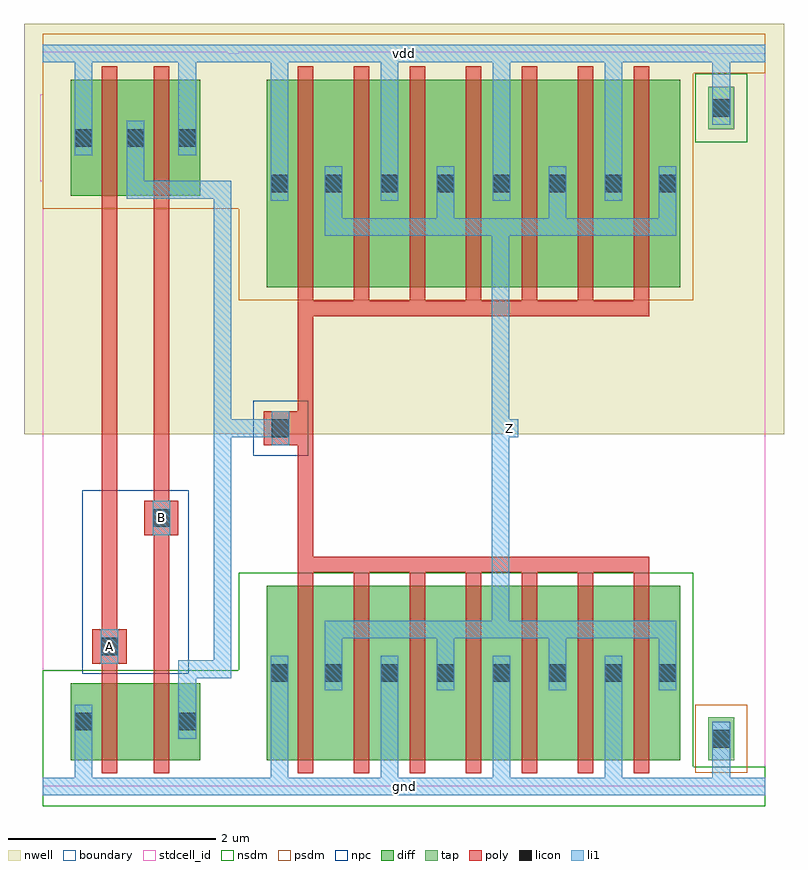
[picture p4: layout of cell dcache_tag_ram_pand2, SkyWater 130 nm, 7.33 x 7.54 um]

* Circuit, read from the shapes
.subckt dcache_tag_ram_pand2 A B Z gnd vdd
XM1 dcache_tag_ram_pnand2_0/dcache_tag_ram_nmos_m1_w0_740_sli_dactive_2/D A gnd gnd sky130_fd_pr__nfet_01v8 w=0.74 l=0.15
XM2 dcache_tag_ram_pdriver_1/A B dcache_tag_ram_pnand2_0/dcache_tag_ram_nmos_m1_w0_740_sli_dactive_2/D gnd sky130_fd_pr__nfet_01v8 w=0.74 l=0.15
XM3 Z dcache_tag_ram_pdriver_1/A gnd gnd sky130_fd_pr__nfet_01v8 w=1.68 l=0.15 m=7
XM4 dcache_tag_ram_pdriver_1/A A vdd vdd sky130_fd_pr__pfet_01v8 w=1.12 l=0.15
XM5 vdd B dcache_tag_ram_pdriver_1/A vdd sky130_fd_pr__pfet_01v8 w=1.12 l=0.15
XM6 Z dcache_tag_ram_pdriver_1/A vdd vdd sky130_fd_pr__pfet_01v8 w=2 l=0.15 m=7
.ends

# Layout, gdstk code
import gdstk
lib = gdstk.Library(unit=1e-6, precision=1e-09)
def R(c, l, rs):  # rectangles x0, y0, x1, y1
    for r in rs: c.add(gdstk.rectangle(r[:2], r[2:], *l))
def A(c, l, x, y, w, h, nx, ny, dx, dy):  # array of equal rectangles
    R(c, l, [(x+i*dx, y+j*dy, x+i*dx+w, y+j*dy+h) for i in range(nx) for j in range(ny)])
nwell = (64, 20)
diff = (65, 20)
tap = (65, 44)
poly = (66, 20)
licon = (66, 44)
li1 = (67, 20)
stdcell_id = (81, 4)
nsdm = (93, 44)
psdm = (94, 20)
npc = (95, 20)
boundary = (235, 4)

dcache_tag_ram_contact_1 = lib.new_cell('dcache_tag_ram_contact_11')
R(dcache_tag_ram_contact_1, nwell, [(-0.295,-0.255,0.545,0.585)])
R(dcache_tag_ram_contact_1, diff, [(0,0.02,0.25,0.31)])
R(dcache_tag_ram_contact_1, licon, [(0.04,0.08,0.21,0.25)])
R(dcache_tag_ram_contact_1, li1, [(0.04,0,0.21,0.33)])
R(dcache_tag_ram_contact_1, stdcell_id, [(-0.295,-0.255,0.545,0.585)])
R(dcache_tag_ram_contact_1, psdm, [(-0.125,-0.105,0.375,0.435)])
R(dcache_tag_ram_contact_1, boundary, [(-0.295,-0.255,0.545,0.585)])

dcache_tag_ram_pmos_m1_w = lib.new_cell('dcache_tag_ram_pmos_m1_w1_120_sli_dli')
R(dcache_tag_ram_pmos_m1_w, nwell, [(-0.27,-0.27,1.02,1.39)])
R(dcache_tag_ram_pmos_m1_w, diff, [(0,0,0.75,1.12)])
R(dcache_tag_ram_pmos_m1_w, poly, [(0.3,-0.13,0.45,1.25), (0.3,-0.13,0.45,1.25)])
R(dcache_tag_ram_pmos_m1_w, li1, [(0.04,0.395,0.21,0.725), (0.54,0.395,0.71,0.725)])
R(dcache_tag_ram_pmos_m1_w, stdcell_id, [(-0.27,-0.27,1.02,1.39)])
R(dcache_tag_ram_pmos_m1_w, psdm, [(-0.125,-0.125,0.875,1.245)])
R(dcache_tag_ram_pmos_m1_w, boundary, [(-0.27,-0.27,1.02,1.39)])
dcache_tag_ram_pmos_m1_w.add(gdstk.Reference(dcache_tag_ram_contact_1, (0,0.395)))
dcache_tag_ram_pmos_m1_w.add(gdstk.Reference(dcache_tag_ram_contact_1, (0.5,0.395)))
dcache_tag_ram_pmos_m1_w.add(gdstk.Label('G', (0.375,0.56), layer=66, texttype=5))
dcache_tag_ram_pmos_m1_w.add(gdstk.Label('S', (0.125,0.56), layer=67, texttype=5))
dcache_tag_ram_pmos_m1_w.add(gdstk.Label('D', (0.625,0.56), layer=67, texttype=5))

c_dcache_tag_ram_contact_1 = lib.new_cell('dcache_tag_ram_contact_10')
R(c_dcache_tag_ram_contact_1, diff, [(0,0.02,0.25,0.31)])
R(c_dcache_tag_ram_contact_1, licon, [(0.04,0.08,0.21,0.25)])
R(c_dcache_tag_ram_contact_1, li1, [(0.04,0,0.21,0.33)])
R(c_dcache_tag_ram_contact_1, stdcell_id, [(-0.125,-0.105,0.375,0.435)])
R(c_dcache_tag_ram_contact_1, nsdm, [(-0.125,-0.105,0.375,0.435)])
R(c_dcache_tag_ram_contact_1, boundary, [(-0.125,-0.105,0.375,0.435)])

dcache_tag_ram_nmos_m1_w = lib.new_cell('dcache_tag_ram_nmos_m1_w0_740_sli_dactive')
R(dcache_tag_ram_nmos_m1_w, diff, [(0,0,0.75,0.74), (0.55,0.295,0.7,0.445)])
R(dcache_tag_ram_nmos_m1_w, poly, [(0.3,-0.13,0.45,0.87), (0.3,-0.13,0.45,0.87)])
R(dcache_tag_ram_nmos_m1_w, li1, [(0.04,0.205,0.21,0.535)])
R(dcache_tag_ram_nmos_m1_w, stdcell_id, [(-0.125,-0.13,0.875,0.87)])
R(dcache_tag_ram_nmos_m1_w, nsdm, [(-0.125,-0.125,0.875,0.865)])
R(dcache_tag_ram_nmos_m1_w, boundary, [(-0.125,-0.13,0.875,0.87)])
dcache_tag_ram_nmos_m1_w.add(gdstk.Reference(c_dcache_tag_ram_contact_1, (0,0.205)))
dcache_tag_ram_nmos_m1_w.add(gdstk.Label('G', (0.375,0.37), layer=66, texttype=5))
dcache_tag_ram_nmos_m1_w.add(gdstk.Label('S', (0.125,0.37), layer=67, texttype=5))
dcache_tag_ram_nmos_m1_w.add(gdstk.Label('D', (0.625,0.37), layer=65, texttype=5))

c_dcache_tag_ram_nmos_m1_w = lib.new_cell('dcache_tag_ram_nmos_m1_w0_740_sactive_dli')
R(c_dcache_tag_ram_nmos_m1_w, diff, [(0,0,0.75,0.74), (0.05,0.295,0.2,0.445)])
R(c_dcache_tag_ram_nmos_m1_w, poly, [(0.3,-0.13,0.45,0.87), (0.3,-0.13,0.45,0.87)])
R(c_dcache_tag_ram_nmos_m1_w, li1, [(0.54,0.205,0.71,0.535)])
R(c_dcache_tag_ram_nmos_m1_w, stdcell_id, [(-0.125,-0.13,0.875,0.87)])
R(c_dcache_tag_ram_nmos_m1_w, nsdm, [(-0.125,-0.125,0.875,0.865)])
R(c_dcache_tag_ram_nmos_m1_w, boundary, [(-0.125,-0.13,0.875,0.87)])
c_dcache_tag_ram_nmos_m1_w.add(gdstk.Reference(c_dcache_tag_ram_contact_1, (0.5,0.205)))
c_dcache_tag_ram_nmos_m1_w.add(gdstk.Label('G', (0.375,0.37), layer=66, texttype=5))
c_dcache_tag_ram_nmos_m1_w.add(gdstk.Label('S', (0.125,0.37), layer=65, texttype=5))
c_dcache_tag_ram_nmos_m1_w.add(gdstk.Label('D', (0.625,0.37), layer=67, texttype=5))

c_dcache_tag_ram_contact_1_ = lib.new_cell('dcache_tag_ram_contact_15')
R(c_dcache_tag_ram_contact_1_, poly, [(0,0,0.33,0.33)])
R(c_dcache_tag_ram_contact_1_, licon, [(0.08,0.08,0.25,0.25)])
R(c_dcache_tag_ram_contact_1_, li1, [(0.08,0,0.25,0.33)])
R(c_dcache_tag_ram_contact_1_, stdcell_id, [(-0.1,-0.1,0.43,0.43)])
R(c_dcache_tag_ram_contact_1_, npc, [(-0.1,-0.1,0.43,0.43)])
R(c_dcache_tag_ram_contact_1_, boundary, [(-0.1,-0.1,0.43,0.43)])

dcache_tag_ram_pnand2 = lib.new_cell('dcache_tag_ram_pnand2')
R(dcache_tag_ram_pnand2, nwell, [(-0.18,3.395,2.07,7.355)])
R(dcache_tag_ram_pnand2, poly, [(0.57,1.125,0.72,5.565), (1.07,1.125,1.22,5.565), (0.57,1.185,0.645,1.515), (1.07,2.425,1.145,2.755)])
R(dcache_tag_ram_pnand2, li1, [(0,-0.085,1.89,0.085), (0.31,-0.085,0.48,0.46), (1.31,0.79,1.48,1.13), (1.31,1.045,1.48,1.215), (1.395,1.045,1.735,1.215), (1.65,1.045,1.82,1.215), (1.65,1.13,1.82,5.755), (0.56,1.185,0.73,1.515), (1.06,2.425,1.23,2.755), (0.81,5.67,0.98,5.84), (0.895,5.67,1.735,5.84), (1.65,5.67,1.82,5.84), (0.81,5.755,0.98,6.09), (0.31,6.09,0.48,7.155), (1.31,6.09,1.48,7.155), (0,6.985,1.89,7.155)])
R(dcache_tag_ram_pnand2, stdcell_id, [(0,0,1.89,7.07), (0,0,1.89,7.07)])
R(dcache_tag_ram_pnand2, nsdm, [(0,-0.19,1.89,0.19), (0,0,1.89,1.12)])
R(dcache_tag_ram_pnand2, psdm, [(0,5.57,1.89,7.07), (0,6.88,1.89,7.26)])
R(dcache_tag_ram_pnand2, npc, [(0.38,1.085,1.41,2.855)])
R(dcache_tag_ram_pnand2, boundary, [(0,0,1.89,7.07), (0,0,1.89,7.07)])
dcache_tag_ram_pnand2.add(gdstk.Reference(dcache_tag_ram_pmos_m1_w, (0.27,5.695)))
dcache_tag_ram_pnand2.add(gdstk.Reference(dcache_tag_ram_pmos_m1_w, (0.77,5.695)))
dcache_tag_ram_pnand2.add(gdstk.Reference(dcache_tag_ram_nmos_m1_w, (0.27,0.255)))
dcache_tag_ram_pnand2.add(gdstk.Reference(c_dcache_tag_ram_nmos_m1_w, (0.77,0.255)))
dcache_tag_ram_pnand2.add(gdstk.Reference(c_dcache_tag_ram_contact_1_, (0.48,1.185)))
dcache_tag_ram_pnand2.add(gdstk.Reference(c_dcache_tag_ram_contact_1_, (0.98,2.425)))
dcache_tag_ram_pnand2.add(gdstk.Label('Z', (1.735,5.755), layer=67, texttype=5))
dcache_tag_ram_pnand2.add(gdstk.Label('gnd', (0.945,0), layer=67, texttype=5))
dcache_tag_ram_pnand2.add(gdstk.Label('vdd', (0.945,7.07), layer=67, texttype=5))
dcache_tag_ram_pnand2.add(gdstk.Label('A', (0.645,1.35), layer=67, texttype=5))
dcache_tag_ram_pnand2.add(gdstk.Label('B', (1.145,2.59), layer=67, texttype=5))

dcache_tag_ram_pmos_m7_w = lib.new_cell('dcache_tag_ram_pmos_m7_w2_000_sli_dli_da_p')
R(dcache_tag_ram_pmos_m7_w, nwell, [(-0.27,-0.27,4.26,2.27)])
R(dcache_tag_ram_pmos_m7_w, diff, [(0,0,3.99,2)])
A(dcache_tag_ram_pmos_m7_w, poly, 0.3, -0.13, 0.15, 2.26, 7, 1, 0.54, 0)
R(dcache_tag_ram_pmos_m7_w, poly, [(0.3,-0.28,3.69,-0.13)])
A(dcache_tag_ram_pmos_m7_w, li1, 0.56, 0.58, 0.17, 0.42, 3, 1, 1.08, 0)
A(dcache_tag_ram_pmos_m7_w, li1, 1.1, 0.835, 0.17, 0.33, 3, 1, 1.08, 0)
R(dcache_tag_ram_pmos_m7_w, li1, [(0.56,0.495,3.95,0.665), (3.78,0.58,3.95,1), (0.04,0.835,0.21,1.165)])
R(dcache_tag_ram_pmos_m7_w, stdcell_id, [(-0.27,-0.28,4.26,2.27)])
R(dcache_tag_ram_pmos_m7_w, psdm, [(-0.125,-0.125,4.115,2.125)])
R(dcache_tag_ram_pmos_m7_w, boundary, [(-0.27,-0.28,4.26,2.27)])
dcache_tag_ram_pmos_m7_w.add(gdstk.Reference(dcache_tag_ram_contact_1, (0,0.835)))
dcache_tag_ram_pmos_m7_w.add(gdstk.Reference(dcache_tag_ram_contact_1, (0.52,0.835)))
dcache_tag_ram_pmos_m7_w.add(gdstk.Reference(dcache_tag_ram_contact_1, (1.06,0.835)))
dcache_tag_ram_pmos_m7_w.add(gdstk.Reference(dcache_tag_ram_contact_1, (1.6,0.835)))
dcache_tag_ram_pmos_m7_w.add(gdstk.Reference(dcache_tag_ram_contact_1, (2.14,0.835)))
dcache_tag_ram_pmos_m7_w.add(gdstk.Reference(dcache_tag_ram_contact_1, (2.68,0.835)))
dcache_tag_ram_pmos_m7_w.add(gdstk.Reference(dcache_tag_ram_contact_1, (3.22,0.835)))
dcache_tag_ram_pmos_m7_w.add(gdstk.Reference(dcache_tag_ram_contact_1, (3.74,0.835)))
dcache_tag_ram_pmos_m7_w.add(gdstk.Label('G', (1.995,-0.205), layer=66, texttype=5))
dcache_tag_ram_pmos_m7_w.add(gdstk.Label('S', (0.125,1), layer=67, texttype=5))
dcache_tag_ram_pmos_m7_w.add(gdstk.Label('S', (1.185,1), layer=67, texttype=5))
dcache_tag_ram_pmos_m7_w.add(gdstk.Label('S', (3.345,1), layer=67, texttype=5))
dcache_tag_ram_pmos_m7_w.add(gdstk.Label('S', (2.265,1), layer=67, texttype=5))
dcache_tag_ram_pmos_m7_w.add(gdstk.Label('D', (2.255,0.58), layer=67, texttype=5))

dcache_tag_ram_nmos_m7_w = lib.new_cell('dcache_tag_ram_nmos_m7_w1_680_sli_dli_da_p')
R(dcache_tag_ram_nmos_m7_w, diff, [(0,0,3.99,1.68)])
A(dcache_tag_ram_nmos_m7_w, poly, 0.3, -0.13, 0.15, 1.94, 7, 1, 0.54, 0)
R(dcache_tag_ram_nmos_m7_w, poly, [(0.3,1.81,3.69,1.96)])
A(dcache_tag_ram_nmos_m7_w, li1, 1.1, 0.675, 0.17, 0.33, 3, 1, 1.08, 0)
A(dcache_tag_ram_nmos_m7_w, li1, 0.56, 0.84, 0.17, 0.42, 3, 1, 1.08, 0)
R(dcache_tag_ram_nmos_m7_w, li1, [(0.04,0.675,0.21,1.005), (3.78,0.84,3.95,1.26), (0.56,1.175,3.95,1.345)])
R(dcache_tag_ram_nmos_m7_w, stdcell_id, [(-0.125,-0.13,4.115,1.96)])
R(dcache_tag_ram_nmos_m7_w, nsdm, [(-0.125,-0.125,4.115,1.805)])
R(dcache_tag_ram_nmos_m7_w, boundary, [(-0.125,-0.13,4.115,1.96)])
dcache_tag_ram_nmos_m7_w.add(gdstk.Reference(c_dcache_tag_ram_contact_1, (0,0.675)))
dcache_tag_ram_nmos_m7_w.add(gdstk.Reference(c_dcache_tag_ram_contact_1, (0.52,0.675)))
dcache_tag_ram_nmos_m7_w.add(gdstk.Reference(c_dcache_tag_ram_contact_1, (1.06,0.675)))
dcache_tag_ram_nmos_m7_w.add(gdstk.Reference(c_dcache_tag_ram_contact_1, (1.6,0.675)))
dcache_tag_ram_nmos_m7_w.add(gdstk.Reference(c_dcache_tag_ram_contact_1, (2.14,0.675)))
dcache_tag_ram_nmos_m7_w.add(gdstk.Reference(c_dcache_tag_ram_contact_1, (2.68,0.675)))
dcache_tag_ram_nmos_m7_w.add(gdstk.Reference(c_dcache_tag_ram_contact_1, (3.22,0.675)))
dcache_tag_ram_nmos_m7_w.add(gdstk.Reference(c_dcache_tag_ram_contact_1, (3.74,0.675)))
dcache_tag_ram_nmos_m7_w.add(gdstk.Label('G', (1.995,1.885), layer=66, texttype=5))
dcache_tag_ram_nmos_m7_w.add(gdstk.Label('S', (3.345,0.84), layer=67, texttype=5))
dcache_tag_ram_nmos_m7_w.add(gdstk.Label('S', (1.185,0.84), layer=67, texttype=5))
dcache_tag_ram_nmos_m7_w.add(gdstk.Label('S', (2.265,0.84), layer=67, texttype=5))
dcache_tag_ram_nmos_m7_w.add(gdstk.Label('S', (0.125,0.84), layer=67, texttype=5))
dcache_tag_ram_nmos_m7_w.add(gdstk.Label('D', (2.255,1.26), layer=67, texttype=5))

dcache_tag_ram_contact_2 = lib.new_cell('dcache_tag_ram_contact_24')
R(dcache_tag_ram_contact_2, nwell, [(-0.295,-0.215,0.545,0.625)])
R(dcache_tag_ram_contact_2, tap, [(0,0,0.25,0.41)])
R(dcache_tag_ram_contact_2, licon, [(0.04,0.12,0.21,0.29)])
R(dcache_tag_ram_contact_2, li1, [(0.04,0.04,0.21,0.37)])
R(dcache_tag_ram_contact_2, stdcell_id, [(-0.295,-0.215,0.545,0.625)])
R(dcache_tag_ram_contact_2, nsdm, [(-0.125,-0.125,0.375,0.535)])
R(dcache_tag_ram_contact_2, boundary, [(-0.295,-0.215,0.545,0.625)])

c_dcache_tag_ram_contact_2 = lib.new_cell('dcache_tag_ram_contact_25')
R(c_dcache_tag_ram_contact_2, tap, [(0,0,0.25,0.41)])
R(c_dcache_tag_ram_contact_2, licon, [(0.04,0.12,0.21,0.29)])
R(c_dcache_tag_ram_contact_2, li1, [(0.04,0.04,0.21,0.37)])
R(c_dcache_tag_ram_contact_2, stdcell_id, [(-0.125,-0.125,0.375,0.535)])
R(c_dcache_tag_ram_contact_2, psdm, [(-0.125,-0.125,0.375,0.535)])
R(c_dcache_tag_ram_contact_2, boundary, [(-0.125,-0.125,0.375,0.535)])

dcache_tag_ram_pinv_1 = lib.new_cell('dcache_tag_ram_pinv_1')
R(dcache_tag_ram_pinv_1, nwell, [(-0.18,3.395,5.26,7.355)])
R(dcache_tag_ram_pinv_1, poly, [(0.57,2.215,0.72,4.535), (0.405,3.29,0.57,3.62)])
A(dcache_tag_ram_pinv_1, li1, 1.37, -0.085, 0.17, 1.015, 3, 1, 1.08, 0)
A(dcache_tag_ram_pinv_1, li1, 1.37, 5.65, 0.17, 1.505, 3, 1, 1.08, 0)
R(dcache_tag_ram_pinv_1, li1, [(0,-0.085,5.08,0.085), (0.31,-0.085,0.48,0.93), (4.57,0,4.74,0.46), (2.44,1.43,2.61,5.48), (0.32,3.29,0.49,3.62), (2.525,3.37,2.695,3.54), (0.31,5.65,0.48,7.155), (4.57,6.545,4.74,7.07), (0,6.985,5.08,7.155)])
R(dcache_tag_ram_pinv_1, stdcell_id, [(0,0,5.08,7.07), (0,0,5.08,7.07)])
R(dcache_tag_ram_pinv_1, nsdm, [(0,-0.19,5.08,0.19), (0,0,4.385,2.06)])
R(dcache_tag_ram_pinv_1, psdm, [(0,4.69,4.385,7.07), (0,6.88,5.08,7.26)])
R(dcache_tag_ram_pinv_1, boundary, [(0,0,5.08,7.07), (0,0,5.08,7.07)])
dcache_tag_ram_pinv_1.add(gdstk.Reference(dcache_tag_ram_pmos_m7_w, (0.27,4.815)))
dcache_tag_ram_pinv_1.add(gdstk.Reference(dcache_tag_ram_nmos_m7_w, (0.27,0.255)))
dcache_tag_ram_pinv_1.add(gdstk.Reference(dcache_tag_ram_contact_2, (4.53,6.34)))
dcache_tag_ram_pinv_1.add(gdstk.Reference(c_dcache_tag_ram_contact_2, (4.53,0.255)))
dcache_tag_ram_pinv_1.add(gdstk.Reference(c_dcache_tag_ram_contact_1_, (0.24,3.29)))
dcache_tag_ram_pinv_1.add(gdstk.Label('A', (0.405,3.455), layer=67, texttype=5))
dcache_tag_ram_pinv_1.add(gdstk.Label('Z', (2.61,3.455), layer=67, texttype=5))
dcache_tag_ram_pinv_1.add(gdstk.Label('gnd', (2.54,0), layer=67, texttype=5))
dcache_tag_ram_pinv_1.add(gdstk.Label('vdd', (2.54,7.07), layer=67, texttype=5))

dcache_tag_ram_pdriver = lib.new_cell('dcache_tag_ram_pdriver')
R(dcache_tag_ram_pdriver, nwell, [(-0.18,3.395,5.26,7.355)])
R(dcache_tag_ram_pdriver, li1, [(0,-0.085,5.08,0.085), (0.32,3.29,0.49,3.62), (2.525,3.37,2.695,3.54), (0,6.985,5.08,7.155)])
R(dcache_tag_ram_pdriver, stdcell_id, [(0,0,5.08,7.07), (0,0,5.08,7.07)])
R(dcache_tag_ram_pdriver, nsdm, [(0,-0.19,5.08,0.19)])
R(dcache_tag_ram_pdriver, psdm, [(0,6.88,5.08,7.26)])
R(dcache_tag_ram_pdriver, boundary, [(0,0,5.08,7.07), (0,0,5.08,7.07)])
dcache_tag_ram_pdriver.add(gdstk.Reference(dcache_tag_ram_pinv_1, (0,0)))
dcache_tag_ram_pdriver.add(gdstk.Label('Z', (2.61,3.455), layer=67, texttype=5))
dcache_tag_ram_pdriver.add(gdstk.Label('A', (0.405,3.455), layer=67, texttype=5))
dcache_tag_ram_pdriver.add(gdstk.Label('gnd', (2.54,0), layer=67, texttype=5))
dcache_tag_ram_pdriver.add(gdstk.Label('vdd', (2.54,7.07), layer=67, texttype=5))

dcache_tag_ram_pand2 = lib.new_cell('dcache_tag_ram_pand2')
R(dcache_tag_ram_pand2, li1, [(0,-0.085,6.97,0.085), (0.56,1.185,0.73,1.515), (1.06,2.425,1.23,2.755), (1.65,3.37,1.82,3.54), (1.735,3.37,2.295,3.54), (4.415,3.37,4.585,3.54), (1.65,3.455,1.82,5.755), (0,6.985,6.97,7.155)])
R(dcache_tag_ram_pand2, stdcell_id, [(0,0,6.97,7.07), (0,0,6.97,7.07)])
R(dcache_tag_ram_pand2, boundary, [(0,0,6.97,7.07), (0,0,6.97,7.07)])
dcache_tag_ram_pand2.add(gdstk.Reference(dcache_tag_ram_pnand2, (0,0)))
dcache_tag_ram_pand2.add(gdstk.Reference(dcache_tag_ram_pdriver, (1.89,0)))
dcache_tag_ram_pand2.add(gdstk.Label('Z', (4.5,3.455), layer=67, texttype=5))
dcache_tag_ram_pand2.add(gdstk.Label('A', (0.645,1.35), layer=67, texttype=5))
dcache_tag_ram_pand2.add(gdstk.Label('B', (1.145,2.59), layer=67, texttype=5))
dcache_tag_ram_pand2.add(gdstk.Label('gnd', (3.485,0), layer=67, texttype=5))
dcache_tag_ram_pand2.add(gdstk.Label('vdd', (3.485,7.07), layer=67, texttype=5))

lib.write_gds('dcache_tag_ram_pand2.gds')
